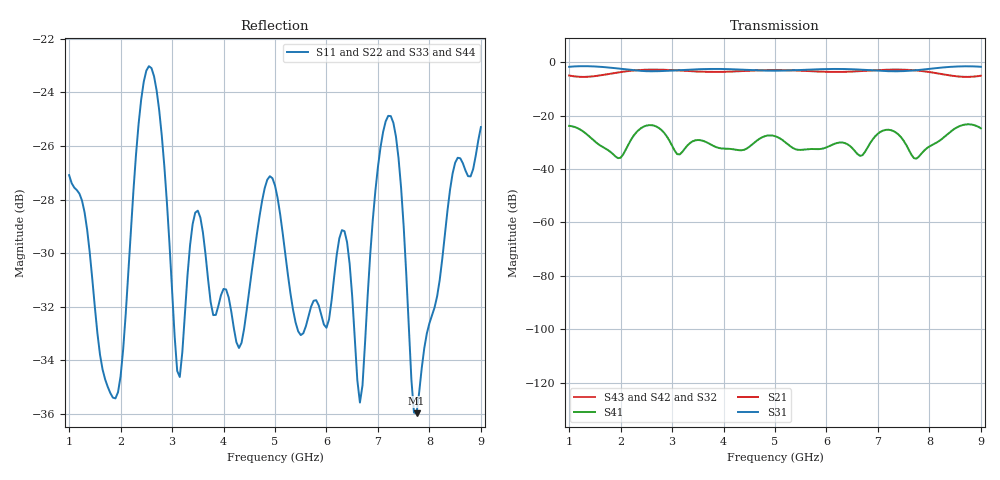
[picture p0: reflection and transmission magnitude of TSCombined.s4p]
! Generated by Advanced Design System(ADS)'s Touchstone combiner
! Individual SnP file names along with mapping information is saved at the end of this file in XML format
! Created 2013-05-20 11:18:29
# GHz S MA R 50
! 4 Port Network Data
! freq  MagS11  AngS11  MagS12  AngS12  MagS13  AngS13  MagS14  AngS14
!  MagS21  AngS21  MagS22  AngS22  MagS23  AngS23  MagS24  AngS24
!  MagS31  AngS31  MagS32  AngS32  MagS33  AngS33  MagS34  AngS34
!  MagS41  AngS41  MagS42  AngS42  MagS43  AngS43  MagS44  AngS44
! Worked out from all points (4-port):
!   161 points, 1 GHz to 9 GHz, reference 50 ohm
!   strongest paths, dB at 1 GHz, 3 GHz, 5 GHz, 7 GHz, 9 GHz:
!     S31: -1.7, -3.1, -3.2, -3.1, -1.7
!     S21: -5.0, -2.9, -2.9, -3.0, -5.0
!     S41: -23.8, -31.2, -27.7, -26.7, -24.7
!     S43: -, -, -, -, -
!     S42: -, -, -, -, -
!     S32: -, -, -, -, -
!   lowest |S11| = -36.0 dB at 7.75 GHz (marker M1), VSWR 1.03, Z = 50.7 - j1.43 ohm
!   |S11| at or under -10 dB: start of sweep to end of sweep
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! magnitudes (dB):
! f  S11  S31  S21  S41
! 1 GHz  -27.1  -1.7  -5.0  -23.8
! 1.95 GHz  -35.2  -2.3  -3.8  -35.9
! 2.55 GHz  -23.0  -3.4  -2.8  -23.6
! 3.15 GHz  -34.6  -3.0  -3.1  -34.5
! 7.25 GHz  -24.9  -3.4  -2.8  -25.4
! 7.75 GHz  -36.0  -3.0  -3.1  -36.1
! 9 GHz  -25.3  -1.7  -5.0  -24.7
